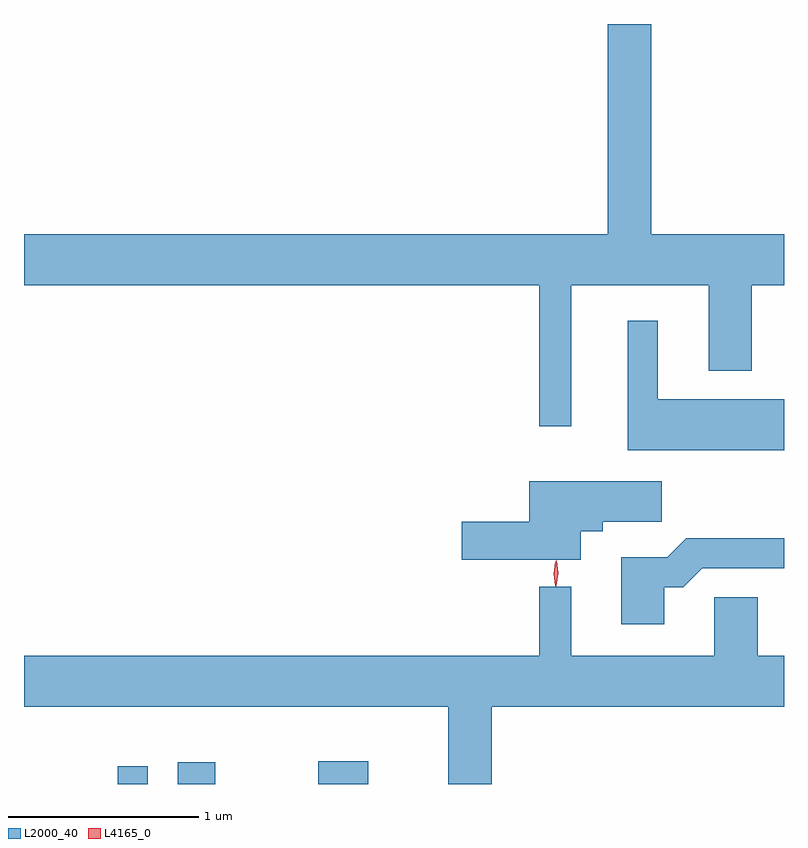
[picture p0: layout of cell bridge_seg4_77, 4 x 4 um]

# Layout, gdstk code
import gdstk
lib = gdstk.Library(unit=1e-6, precision=1e-09)
def R(c, l, rs):  # rectangles x0, y0, x1, y1
    for r in rs: c.add(gdstk.rectangle(r[:2], r[2:], *l))
def P(c, l, *ps):  # polygons
    for p in ps: c.add(gdstk.Polygon(p, *l))
L2000_40 = (2000, 40)
L4165_0 = (4165, 0)

bridge_seg4_77 = lib.new_cell('bridge_seg4_77')
R(bridge_seg4_77, L2000_40, [(1804.131,1254.37,1804.289,1254.463), (1804.446,1254.37,1804.644,1254.484), (1805.186,1254.37,1805.449,1254.489)])
P(bridge_seg4_77, L2000_40, [(1806.519,1256.996),(1807.241,1256.996),(1807.241,1256.546),(1807.469,1256.546),(1807.469,1256.996),(1807.638,1256.996),(1807.638,1257.264),(1806.939,1257.264),(1806.939,1258.37),(1806.711,1258.37),(1806.711,1257.264),(1803.638,1257.264),(1803.638,1256.996),(1806.351,1256.996),(1806.351,1256.253),(1806.519,1256.253)],
  [(1807.638,1256.394),(1806.974,1256.394),(1806.974,1256.808),(1806.816,1256.808),(1806.816,1256.126),(1807.638,1256.126)],
  [(1806.569,1255.701),(1806.684,1255.701),(1806.684,1255.751),(1806.994,1255.751),(1806.994,1255.964),(1806.296,1255.964),(1806.296,1255.749),(1805.941,1255.749),(1805.941,1255.551),(1806.569,1255.551)],
  [(1807.009,1255.406),(1807.107,1255.406),(1807.207,1255.506),(1807.638,1255.506),(1807.638,1255.664),(1807.124,1255.664),(1807.024,1255.564),(1806.781,1255.564),(1806.781,1255.211),(1807.009,1255.211)],
  [(1806.099,1254.776),(1807.638,1254.776),(1807.638,1255.044),(1807.499,1255.044),(1807.499,1255.354),(1807.271,1255.354),(1807.271,1255.044),(1806.519,1255.044),(1806.519,1255.408),(1806.351,1255.408),(1806.351,1255.044),(1803.638,1255.044),(1803.638,1254.776),(1805.871,1254.776),(1805.871,1254.37),(1806.099,1254.37)])
P(bridge_seg4_77, L4165_0, [(1806.437,1255.41),(1806.429,1255.478),(1806.44,1255.546),(1806.44,1255.546),(1806.441,1255.546),(1806.449,1255.478),(1806.438,1255.41),(1806.438,1255.41)],
  [(1806.434,1255.414),(1806.425,1255.477),(1806.434,1255.541),(1806.435,1255.542),(1806.435,1255.541),(1806.445,1255.477),(1806.435,1255.414),(1806.435,1255.414)])

lib.write_gds('bridge_seg4_77.gds')
